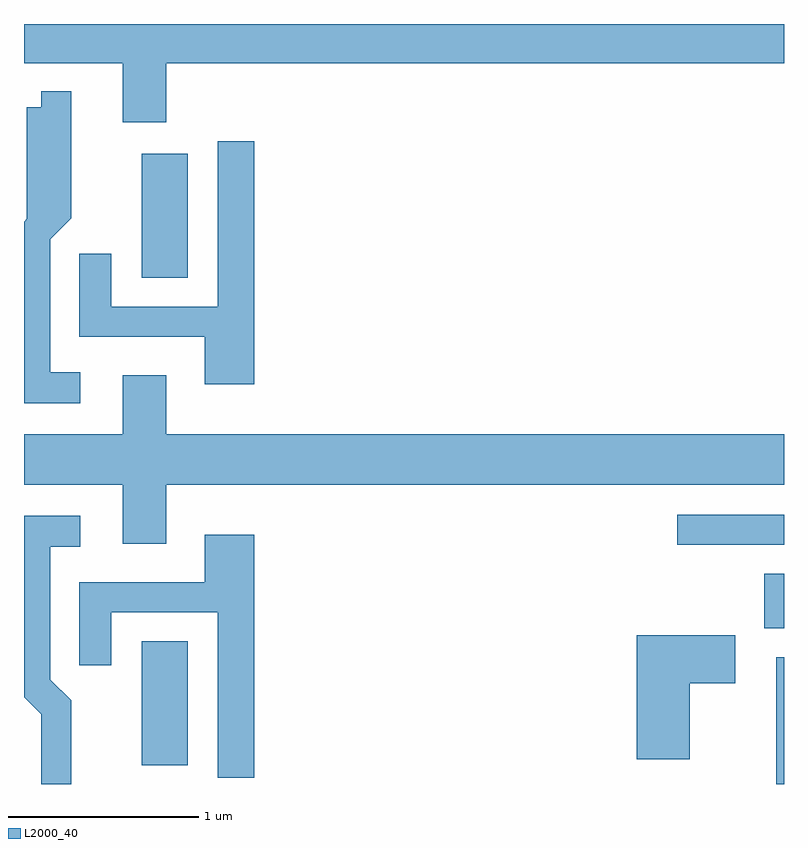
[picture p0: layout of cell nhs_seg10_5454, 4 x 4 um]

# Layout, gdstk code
import gdstk
lib = gdstk.Library(unit=1e-6, precision=1e-09)
def R(c, l, rs):  # rectangles x0, y0, x1, y1
    for r in rs: c.add(gdstk.rectangle(r[:2], r[2:], *l))
def P(c, l, *ps):  # polygons
    for p in ps: c.add(gdstk.Polygon(p, *l))
L2000_40 = (2000, 40)

nhs_seg10_5454 = lib.new_cell('nhs_seg10_5454')
R(nhs_seg10_5454, L2000_40, [(349.571,2154.522,349.611,2155.189), (346.231,2154.621,346.474,2155.274), (349.506,2155.341,349.611,2155.629), (349.048,2155.781,349.611,2155.939), (346.231,2157.186,346.474,2157.839)])
P(nhs_seg10_5454, L2000_40, [(346.359,2158.316),(349.611,2158.316),(349.611,2158.522),(345.611,2158.522),(345.611,2158.316),(346.131,2158.316),(346.131,2158.006),(346.359,2158.006)],
  [(345.908,2156.689),(345.749,2156.689),(345.749,2157.389),(345.859,2157.499),(345.859,2158.168),(345.701,2158.168),(345.701,2158.084),(345.626,2158.084),(345.626,2157.497),(345.611,2157.482),(345.611,2156.526),(345.908,2156.526)],
  [(346.824,2157.904),(346.631,2157.904),(346.631,2157.034),(346.069,2157.034),(346.069,2157.313),(345.901,2157.313),(345.901,2156.876),(346.561,2156.876),(346.561,2156.626),(346.824,2156.626)],
  [(346.359,2156.096),(349.611,2156.096),(349.611,2156.364),(346.359,2156.364),(346.359,2156.674),(346.131,2156.674),(346.131,2156.364),(345.611,2156.364),(345.611,2156.096),(346.131,2156.096),(346.131,2155.786),(346.359,2155.786)],
  [(345.859,2154.962),(345.749,2155.072),(345.749,2155.771),(345.908,2155.771),(345.908,2155.934),(345.611,2155.934),(345.611,2154.979),(345.701,2154.889),(345.701,2154.522),(345.859,2154.522)],
  [(346.824,2155.834),(346.561,2155.834),(346.561,2155.584),(345.901,2155.584),(345.901,2155.148),(346.069,2155.148),(346.069,2155.426),(346.631,2155.426),(346.631,2154.556),(346.824,2154.556)],
  [(349.114,2155.051),(349.354,2155.051),(349.354,2155.304),(348.836,2155.304),(348.836,2154.651),(349.114,2154.651)])

lib.write_gds('nhs_seg10_5454.gds')
